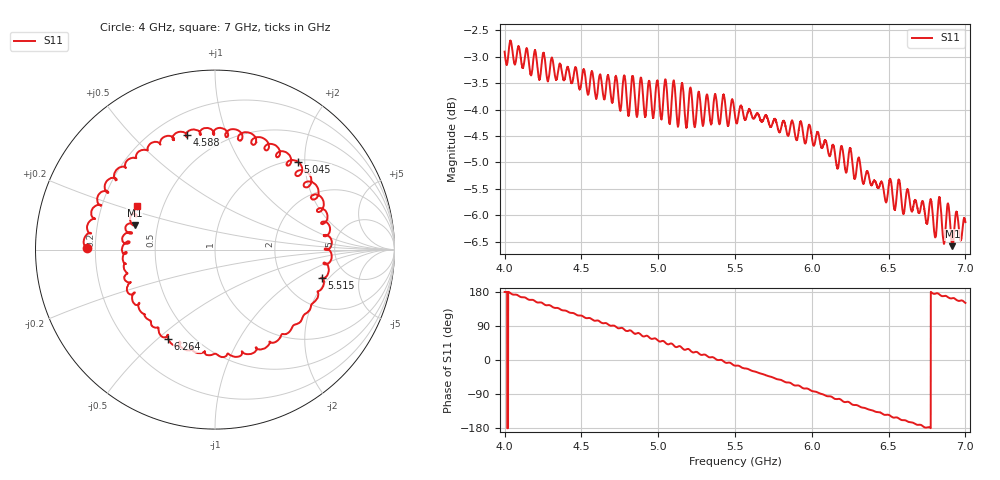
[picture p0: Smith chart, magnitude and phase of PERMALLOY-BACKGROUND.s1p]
#  HZ  S  RI  R  50.0
! Rohde & Schwarz ZVL13 2Ports - Version 3.31 - 1303.6509k13 SN: 101088
! Date: 2023-03-03 14:31:30
! Data & Calibration Information:
! Trc2:S21(TOSM)
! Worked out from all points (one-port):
!   4000 points, 4 GHz to 7 GHz, reference 50 ohm
!   lowest |S11| = -6.6 dB at 6.916 GHz (marker M1), VSWR 2.76, Z = 18.4 + j6.43 ohm
!   |S11| at or under -10 dB: nowhere
!   S11 on the Smith chart (normalised r, x): 4 GHz: 0.17, +0.00; 4.588 GHz: 0.33, +0.73; 5.045 GHz: 1.04, +1.86; 5.515 GHz: 3.28, -1.65; 6.264 GHz: 0.37, -0.54; 7 GHz: 0.36, +0.23
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4e9  -0.7157 0.0062
4.024006e9  -0.7111 0.00181
4.194299e9  -0.6561 0.2866
4.375094e9  -0.4503 0.5122
4.51838e9  -0.2675 0.6335
4.588147e9  -0.1538 0.6366
4.674419e9  -0.0454 0.6784
4.750188e9  0.0678 0.6278
4.884471e9  0.2537 0.6252
5.045011e9  0.4637 0.4887
5.125281e9  0.5031 0.3472
5.147037e9  0.5364 0.377
5.173293e9  0.5583 0.2813
5.2003e9  0.5689 0.3053
5.226557e9  0.5892 0.2144
5.31958e9  0.6415 0.1137
5.500375e9  0.6012 -0.162
5.515379e9  0.5935 -0.1569
5.696174e9  0.4813 -0.3956
5.875469e9  0.2652 -0.5537
6.03976e9  0.0426 -0.5981
6.250563e9  -0.2323 -0.5312
6.264066e9  -0.2614 -0.4981
6.462116e9  -0.4257 -0.324
6.625656e9  -0.5056 -0.159
6.830458e9  -0.5174 0.0625
6.915979e9  -0.4484 0.1362
7e9  -0.4305 0.2418
